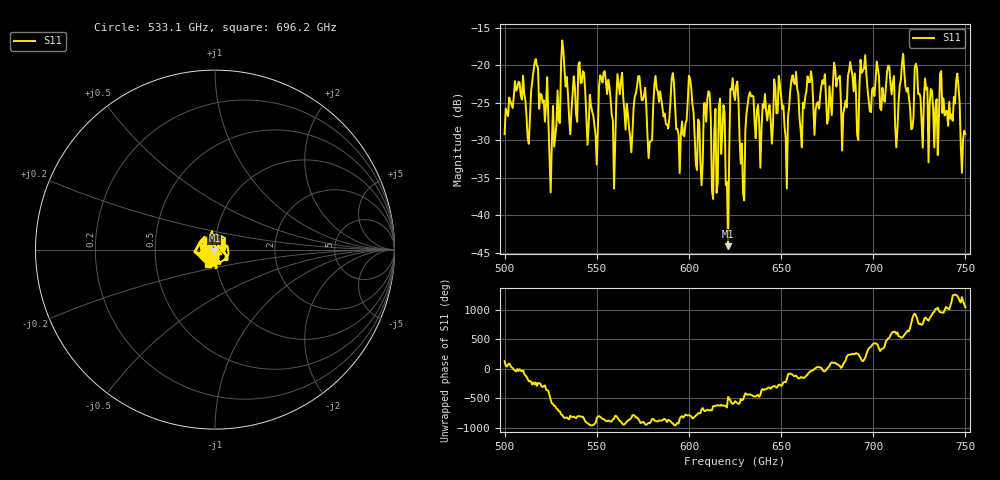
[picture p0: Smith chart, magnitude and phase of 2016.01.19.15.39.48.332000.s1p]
!Created with skrf (http://scikit-rf.org).
# GHz S RI R 50.0
!freq ReS11 ImS11
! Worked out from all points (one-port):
!   401 points, 500 GHz to 750 GHz, reference 50 ohm
!   lowest |S11| = -44.1 dB at 621.2 GHz (marker M1), VSWR 1.01, Z = 49.7 - j0.538 ohm
!   |S11| at or under -10 dB: start of sweep to end of sweep
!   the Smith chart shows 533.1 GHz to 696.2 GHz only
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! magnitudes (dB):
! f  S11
! 500 GHz  -29.2
! 513.1 GHz  -30.5
! 516.9 GHz  -19.2
! 525.6 GHz  -30.4
! 531.2 GHz  -16.7
! 549.4 GHz  -29.3
! 553.1 GHz  -22.3
! 558.8 GHz  -27.4
! 562.5 GHz  -23.9
! 578.8 GHz  -30.3
! 581.9 GHz  -21.4
! 591.2 GHz  -21.1
! 593.8 GHz  -28.5
! 600.6 GHz  -21.8
! 605.6 GHz  -27.6
! 610 GHz  -24.4
! 613.8 GHz  -29.0
! 617.5 GHz  -31.8
! 621.2 GHz  -44.1
! 625 GHz  -24.7
! 628.8 GHz  -30.4
! 633.1 GHz  -23.6
! 653.1 GHz  -36.4
! 656.2 GHz  -21.3
! 684.4 GHz  -25.7
! 687.5 GHz  -19.6
! 718.8 GHz  -23.0
! 750 GHz  -29.2
